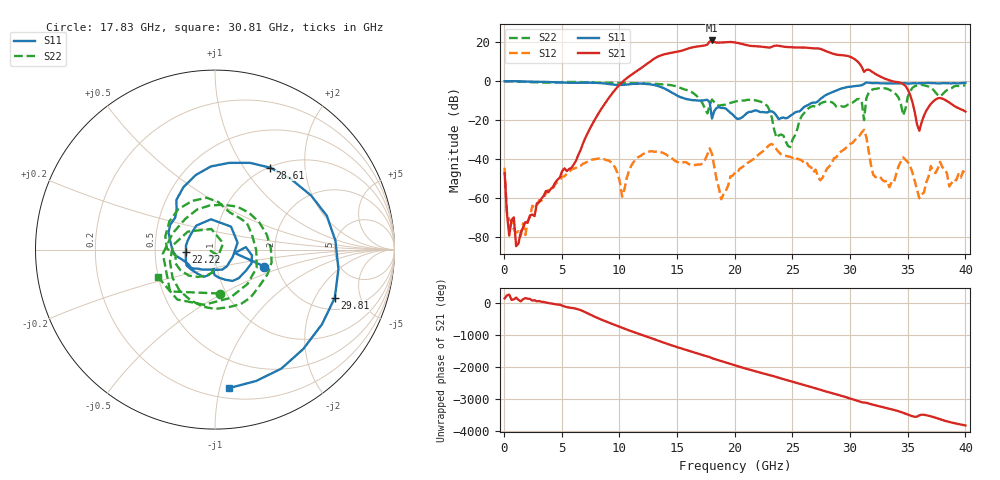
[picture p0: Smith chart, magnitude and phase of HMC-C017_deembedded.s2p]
!Hittite Microwave Corporation
!20 Alpha Road
!Chelmsford, MA 01824
!Tel: 978-250-3343
!Fax: 978-250-3373
!Device: HMC-C017, 17-28 GHz, Connectorized Wideband Amplifier Module
!Misc: 12 V, 96 mA, Room
# GHZ S DB R 50.0
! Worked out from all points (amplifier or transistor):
!   201 points, 50 MHz to 40 GHz, reference 50 ohm
!   highest |S21| = 21.0 dB at 18.03 GHz (marker M1)
!   |S21| within 3 dB of that: 16.89 GHz to 21.88 GHz (4.992 GHz wide, 25.7 % of centre) (the widest 1 of 2)
!   unconditionally stable (mu >= 1): 1.446 GHz to 11.64 GHz; 14.07 GHz to 31.35 GHz; 31.55 GHz to end of sweep
!   at 6.642 GHz: K = 49.87, MAG = -15.9 dB, |S12| = -43.3 dB
!   at 20.02 GHz: K = 9.88, MAG = 20.4 dB, |S12| = -46.8 dB
!   at 40 GHz: K = 38.27, MAG = -3.1 dB, |S12| = -47.1 dB
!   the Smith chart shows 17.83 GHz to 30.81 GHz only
!   S11 on the Smith chart (normalised r, x): 17.83 GHz: 1.71, -0.35; 22.22 GHz: 0.72, -0.02; 28.61 GHz: 1.01, +1.33; 29.81 GHz: 2.64, -2.94; 30.81 GHz: 0.28, -1.07
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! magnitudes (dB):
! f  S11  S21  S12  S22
! 50 MHz  0.0  -46.9  -44.3  0.0
! 449.5 MHz  0.0  -79.1  -71.0  0.0
! 1.248 GHz  0.0  -83.3  -76.9  -0.1
! 6.842 GHz  -0.7  -31.9  -42.3  -0.4
! 9.239 GHz  -1.5  -7.3  -41.3  -0.8
! 10.24 GHz  -1.8  -0.4  -59.1  -0.8
! 13.43 GHz  -2.6  13.0  -36.1  -1.4
! 17.83 GHz  -10.7  20.4  -34.4  -12.2
! 18.03 GHz  -19.1  21.0  -37.1  -9.3
! 18.83 GHz  -13.6  19.9  -60.5  -12.2
! 20.22 GHz  -19.3  19.7  -46.9  -10.1
! 22.22 GHz  -15.8  17.9  -36.8  -10.4
! 24.82 GHz  -17.7  17.5  -38.7  -33.7
! 26.82 GHz  -10.9  16.9  -46.6  -12.6
! 28.61 GHz  -5.2  14.0  -39.4  -11.5
! 29.81 GHz  -2.9  13.0  -33.2  -11.9
! 30.81 GHz  -2.2  9.2  -28.0  -9.1
! 33.41 GHz  -1.0  0.5  -54.3  -4.3
! 34.61 GHz  -1.0  -1.4  -39.0  -17.5
! 36.01 GHz  -1.0  -25.4  -60.0  -1.8
! 37 GHz  -0.9  -11.6  -43.4  -3.2
! 40 GHz  -0.7  -15.5  -47.1  -2.0
